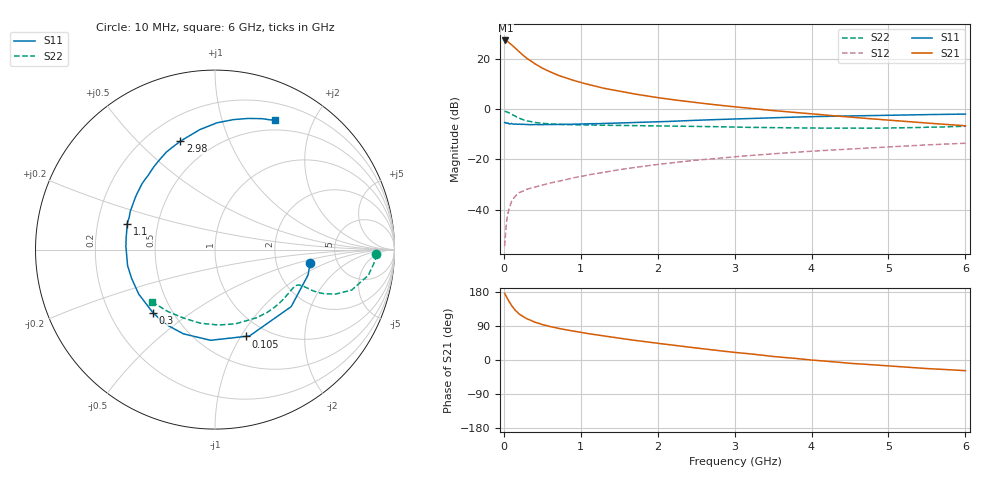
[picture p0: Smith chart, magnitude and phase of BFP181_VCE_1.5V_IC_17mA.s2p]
! Infineon Technologies  Discrete & RF Semiconductors
! BFP181
! VCE = 1.5 V,  IC =  17 mA
! Common Emitter S-Parameters:  Jan 2016
# GHz  S  MA  R  50
!  f  S11  S21  S12  S22
! GHz  MAG  ANG  MAG  ANG  MAG  ANG  MAG  ANG
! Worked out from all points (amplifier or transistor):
!   210 points, 10 MHz to 6 GHz, reference 50 ohm
!   highest |S21| = 27.2 dB at 20 MHz (marker M1)
!   |S21| within 3 dB of that: start of sweep to 147.1 MHz
!   unconditionally stable (mu >= 1): start of sweep to 21.59 MHz; 351.3 MHz to end of sweep
!   at 185 MHz: K = 0.65, MSG = 28.3 dB, |S12| = -33.6 dB
!   at 1.52 GHz: K = 1.82, MAG = 10.2 dB, |S12| = -24.0 dB
!   at 6 GHz: K = 1.43, MAG = -0.4 dB, |S12| = -13.6 dB
!   S11 on the Smith chart (normalised r, x): 10 MHz: 3.16, -0.65; 105 MHz: 0.80, -1.05; 300 MHz: 0.39, -0.36; 1.1 GHz: 0.33, +0.13; 2.98 GHz: 0.33, +0.67; 6 GHz: 0.39, +1.49
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0.01  0.5363 -7.9  22.88 175.9  0.0019 78.3  0.8978 -1.7
0.02  0.5372 -15.4  22.9 172.1  0.003 77.7  0.8953 -3.8
0.05  0.5302 -36.8  21.88 160.1  0.0082 76.8  0.8658 -9.6
0.1  0.5181 -68.2  18.92 143.6  0.0146 62.0  0.7941 -16.5
0.105  0.5127 -70.6  18.59 142.5  0.015 61.1  0.786 -16.8
0.15  0.5059 -92.8  16.07 130.7  0.0188 54.8  0.7147 -20.3
0.2  0.5012 -110.6  13.66 121.2  0.022 50.8  0.6559 -22.0
0.24  0.4972 -121.2  12.03 115.7  0.0232 48.2  0.6214 -22.6
0.26  0.4964 -126.0  11.32 113.1  0.0239 47.4  0.6066 -22.7
0.3  0.4931 -134.6  10.11 108.6  0.0256 46.6  0.5816 -22.8
0.4  0.4919 -149.7  7.95 99.9  0.0283 46.6  0.542 -22.5
0.5  0.4914 -160.8  6.466 93.5  0.0308 47.0  0.5197 -22.7
0.7  0.4933 -176.1  4.695 83.8  0.0365 50.2  0.4973 -23.5
1.02  0.5037 167.2  3.288 72.2  0.0465 53.2  0.4831 -26.8
1.1  0.5101 163.5  3.062 69.4  0.0493 53.4  0.4809 -27.8
1.5  0.5276 148.7  2.249 57.4  0.0624 54.5  0.4732 -33.7
2.02  0.556 132.1  1.664 43.6  0.08 52.7  0.4635 -42.8
2.98  0.6336 107.8  1.113 20.6  0.1121 47.1  0.4387 -62.4
3.1  0.6413 105.2  1.067 18.2  0.1161 46.2  0.4348 -65.1
4.1  0.7102 87.7  0.777 -1.6  0.1485 38.5  0.4183 -90.1
5.1  0.7573 74.7  0.585 -16.9  0.18 30.4  0.4207 -117.3
6  0.793 65.2  0.465 -28.2  0.2093 22.1  0.4549 -140.1
